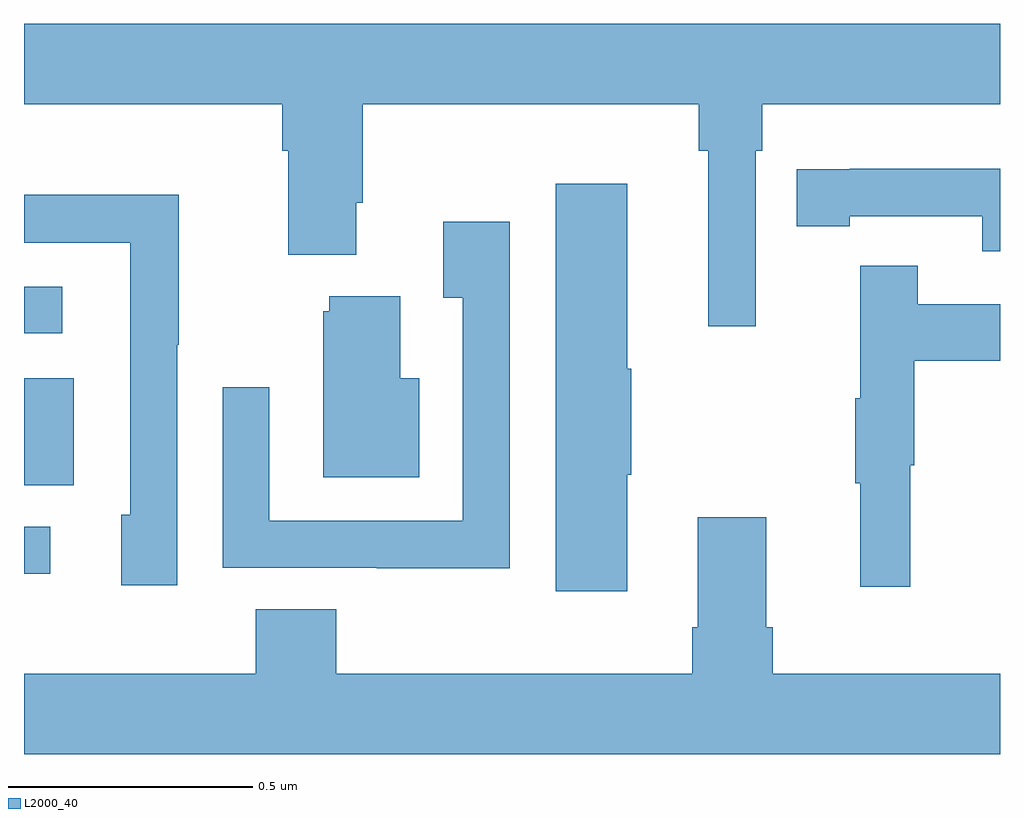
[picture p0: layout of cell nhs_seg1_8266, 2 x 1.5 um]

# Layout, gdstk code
import gdstk
lib = gdstk.Library(unit=1e-6, precision=1e-09)
def R(c, l, rs):  # rectangles x0, y0, x1, y1
    for r in rs: c.add(gdstk.rectangle(r[:2], r[2:], *l))
def P(c, l, *ps):  # polygons
    for p in ps: c.add(gdstk.Polygon(p, *l))
L2000_40 = (2000, 40)

nhs_seg1_8266 = lib.new_cell('nhs_seg1_8266')
R(nhs_seg1_8266, L2000_40, [(214,542.777,214.054,542.874), (214,542.959,214.102,543.178), (214,543.27,214.078,543.366)])
P(nhs_seg1_8266, L2000_40, [(215.499,543.644),(215.513,543.644),(215.513,543.74),(216,543.74),(216,543.904),(214,543.904),(214,543.74),(214.529,543.74),(214.529,543.644),(214.541,543.644),(214.541,543.431),(214.681,543.431),(214.681,543.538),(214.694,543.538),(214.694,543.74),(215.383,543.74),(215.383,543.644),(215.402,543.644),(215.402,543.285),(215.499,543.285)],
  [(216,543.607),(215.692,543.607),(215.692,543.606),(215.584,543.606),(215.584,543.49),(215.692,543.49),(215.692,543.51),(215.964,543.51),(215.964,543.438),(216,543.438)],
  [(215.236,542.98),(215.244,542.98),(215.244,543.197),(215.236,543.197),(215.236,543.577),(215.09,543.577),(215.09,542.742),(215.236,542.742)],
  [(214.314,543.247),(214.317,543.247),(214.317,543.554),(214,543.554),(214,543.456),(214.218,543.456),(214.218,542.898),(214.199,542.898),(214.199,542.754),(214.314,542.754)],
  [(214.995,543.499),(214.859,543.499),(214.859,543.343),(214.899,543.343),(214.899,542.886),(214.503,542.886),(214.503,543.16),(214.407,543.16),(214.407,542.79),(214.723,542.79),(214.723,542.789),(214.995,542.789)],
  [(215.816,543),(215.824,543),(215.824,543.214),(216,543.214),(216,543.33),(215.831,543.33),(215.831,543.409),(215.714,543.409),(215.714,543.137),(215.703,543.137),(215.703,542.963),(215.714,542.963),(215.714,542.751),(215.816,542.751)],
  [(214.81,543.178),(214.771,543.178),(214.771,543.346),(214.625,543.346),(214.625,543.315),(214.613,543.315),(214.613,542.975),(214.81,542.975)],
  [(216,542.572),(215.534,542.572),(215.534,542.668),(215.521,542.668),(215.521,542.893),(215.381,542.893),(215.381,542.668),(215.369,542.668),(215.369,542.572),(214.64,542.572),(214.64,542.705),(214.475,542.705),(214.475,542.572),(214,542.572),(214,542.408),(216,542.408)])

lib.write_gds('nhs_seg1_8266.gds')
